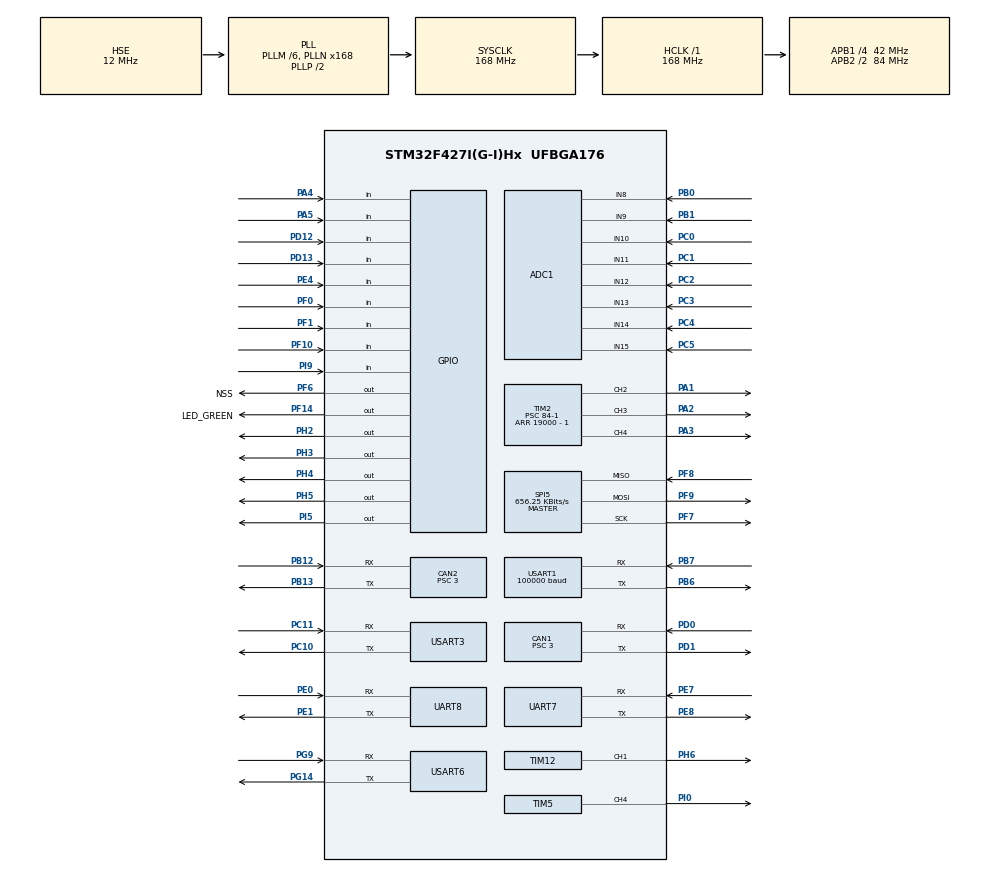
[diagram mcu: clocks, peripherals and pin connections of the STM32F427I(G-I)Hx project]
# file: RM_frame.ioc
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ADC1.Channel-0\#ChannelRegularConversion=ADC_CHANNEL_8
ADC1.Channel-1\#ChannelRegularConversion=ADC_CHANNEL_9
ADC1.Channel-2\#ChannelRegularConversion=ADC_CHANNEL_10
ADC1.Channel-3\#ChannelRegularConversion=ADC_CHANNEL_11
ADC1.Channel-4\#ChannelRegularConversion=ADC_CHANNEL_12
ADC1.Channel-5\#ChannelRegularConversion=ADC_CHANNEL_13
ADC1.Channel-6\#ChannelRegularConversion=ADC_CHANNEL_14
ADC1.Channel-7\#ChannelRegularConversion=ADC_CHANNEL_15
ADC1.ContinuousConvMode=ENABLE
ADC1.DMAContinuousRequests=ENABLE
ADC1.NbrOfConversion=8
ADC1.NbrOfConversionFlag=1
ADC1.Rank-0\#ChannelRegularConversion=1
ADC1.Rank-1\#ChannelRegularConversion=2
ADC1.Rank-2\#ChannelRegularConversion=3
ADC1.Rank-3\#ChannelRegularConversion=4
ADC1.Rank-4\#ChannelRegularConversion=5
ADC1.Rank-5\#ChannelRegularConversion=6
ADC1.Rank-6\#ChannelRegularConversion=7
ADC1.Rank-7\#ChannelRegularConversion=8
ADC1.SamplingTime-0\#ChannelRegularConversion=ADC_SAMPLETIME_3CYCLES
ADC1.SamplingTime-1\#ChannelRegularConversion=ADC_SAMPLETIME_3CYCLES
ADC1.SamplingTime-2\#ChannelRegularConversion=ADC_SAMPLETIME_3CYCLES
ADC1.SamplingTime-3\#ChannelRegularConversion=ADC_SAMPLETIME_3CYCLES
ADC1.SamplingTime-4\#ChannelRegularConversion=ADC_SAMPLETIME_3CYCLES
ADC1.SamplingTime-5\#ChannelRegularConversion=ADC_SAMPLETIME_3CYCLES
ADC1.SamplingTime-6\#ChannelRegularConversion=ADC_SAMPLETIME_3CYCLES
ADC1.SamplingTime-7\#ChannelRegularConversion=ADC_SAMPLETIME_3CYCLES
ADC1.ScanConvMode=ENABLE
ADC1.master=1
CAN1.BS1=CAN_BS1_9TQ
CAN1.BS2=CAN_BS2_4TQ
CAN1.CalculateTimeBit=1000
CAN1.CalculateTimeQuantum=71.42857142857143
CAN1.Prescaler=3
CAN2.BS1=CAN_BS1_9TQ
CAN2.BS2=CAN_BS2_4TQ
CAN2.CalculateTimeBit=1000
CAN2.CalculateTimeQuantum=71.42857142857143
CAN2.Prescaler=3
Dma.ADC1.5.Direction=DMA_PERIPH_TO_MEMORY
Dma.ADC1.5.FIFOMode=DMA_FIFOMODE_DISABLE
Dma.ADC1.5.Instance=DMA2_Stream0
Dma.ADC1.5.MemDataAlignment=DMA_MDATAALIGN_WORD
Dma.ADC1.5.MemInc=DMA_MINC_ENABLE
Dma.ADC1.5.Mode=DMA_CIRCULAR
Dma.ADC1.5.PeriphDataAlignment=DMA_PDATAALIGN_WORD
Dma.ADC1.5.PeriphInc=DMA_PINC_DISABLE
Dma.ADC1.5.Priority=DMA_PRIORITY_LOW
Dma.Request0=USART6_RX
Dma.Request1=USART1_RX
Dma.Request2=USART3_RX
Dma.Request3=USART6_TX
Dma.Request4=UART7_RX
Dma.Request5=ADC1
Dma.Request6=UART8_RX
Dma.Request7=UART8_TX
Dma.UART7_RX.4.Direction=DMA_PERIPH_TO_MEMORY
Dma.UART7_RX.4.FIFOMode=DMA_FIFOMODE_DISABLE
Dma.UART7_RX.4.Instance=DMA1_Stream3
Dma.UART7_RX.4.MemDataAlignment=DMA_MDATAALIGN_BYTE
Dma.UART7_RX.4.MemInc=DMA_MINC_ENABLE
Dma.UART7_RX.4.Mode=DMA_NORMAL
Dma.UART7_RX.4.PeriphDataAlignment=DMA_PDATAALIGN_BYTE
Dma.UART7_RX.4.PeriphInc=DMA_PINC_DISABLE
Dma.UART7_RX.4.Priority=DMA_PRIORITY_LOW
Dma.UART8_RX.6.Direction=DMA_PERIPH_TO_MEMORY
Dma.UART8_RX.6.FIFOMode=DMA_FIFOMODE_DISABLE
Dma.UART8_RX.6.Instance=DMA1_Stream6
Dma.UART8_RX.6.MemDataAlignment=DMA_MDATAALIGN_BYTE
Dma.UART8_RX.6.MemInc=DMA_MINC_ENABLE
Dma.UART8_RX.6.Mode=DMA_NORMAL
Dma.UART8_RX.6.PeriphDataAlignment=DMA_PDATAALIGN_BYTE
Dma.UART8_RX.6.PeriphInc=DMA_PINC_DISABLE
Dma.UART8_RX.6.Priority=DMA_PRIORITY_LOW
Dma.UART8_TX.7.Direction=DMA_MEMORY_TO_PERIPH
Dma.UART8_TX.7.FIFOMode=DMA_FIFOMODE_DISABLE
Dma.UART8_TX.7.Instance=DMA1_Stream0
Dma.UART8_TX.7.MemDataAlignment=DMA_MDATAALIGN_BYTE
Dma.UART8_TX.7.MemInc=DMA_MINC_ENABLE
Dma.UART8_TX.7.Mode=DMA_NORMAL
Dma.UART8_TX.7.PeriphDataAlignment=DMA_PDATAALIGN_BYTE
Dma.UART8_TX.7.PeriphInc=DMA_PINC_DISABLE
Dma.UART8_TX.7.Priority=DMA_PRIORITY_LOW
Dma.USART1_RX.1.Direction=DMA_PERIPH_TO_MEMORY
Dma.USART1_RX.1.FIFOMode=DMA_FIFOMODE_DISABLE
Dma.USART1_RX.1.Instance=DMA2_Stream2
Dma.USART1_RX.1.MemDataAlignment=DMA_MDATAALIGN_BYTE
Dma.USART1_RX.1.MemInc=DMA_MINC_ENABLE
Dma.USART1_RX.1.Mode=DMA_NORMAL
Dma.USART1_RX.1.PeriphDataAlignment=DMA_PDATAALIGN_BYTE
Dma.USART1_RX.1.PeriphInc=DMA_PINC_DISABLE
Dma.USART1_RX.1.Priority=DMA_PRIORITY_LOW
Dma.USART3_RX.2.Direction=DMA_PERIPH_TO_MEMORY
Dma.USART3_RX.2.FIFOMode=DMA_FIFOMODE_DISABLE
Dma.USART3_RX.2.Instance=DMA1_Stream1
Dma.USART3_RX.2.MemDataAlignment=DMA_MDATAALIGN_BYTE
Dma.USART3_RX.2.MemInc=DMA_MINC_ENABLE
Dma.USART3_RX.2.Mode=DMA_NORMAL
Dma.USART3_RX.2.PeriphDataAlignment=DMA_PDATAALIGN_BYTE
Dma.USART3_RX.2.PeriphInc=DMA_PINC_DISABLE
Dma.USART3_RX.2.Priority=DMA_PRIORITY_LOW
Dma.USART6_RX.0.Direction=DMA_PERIPH_TO_MEMORY
Dma.USART6_RX.0.FIFOMode=DMA_FIFOMODE_DISABLE
Dma.USART6_RX.0.Instance=DMA2_Stream1
Dma.USART6_RX.0.MemDataAlignment=DMA_MDATAALIGN_BYTE
Dma.USART6_RX.0.MemInc=DMA_MINC_ENABLE
Dma.USART6_RX.0.Mode=DMA_NORMAL
Dma.USART6_RX.0.PeriphDataAlignment=DMA_PDATAALIGN_BYTE
Dma.USART6_RX.0.PeriphInc=DMA_PINC_DISABLE
Dma.USART6_RX.0.Priority=DMA_PRIORITY_LOW
Dma.USART6_TX.3.Direction=DMA_MEMORY_TO_PERIPH
Dma.USART6_TX.3.FIFOMode=DMA_FIFOMODE_DISABLE
Dma.USART6_TX.3.Instance=DMA2_Stream6
Dma.USART6_TX.3.MemDataAlignment=DMA_MDATAALIGN_BYTE
Dma.USART6_TX.3.MemInc=DMA_MINC_ENABLE
Dma.USART6_TX.3.Mode=DMA_NORMAL
Dma.USART6_TX.3.PeriphDataAlignment=DMA_PDATAALIGN_BYTE
Dma.USART6_TX.3.PeriphInc=DMA_PINC_DISABLE
Dma.USART6_TX.3.Priority=DMA_PRIORITY_LOW
IWDG.Prescaler=IWDG_PRESCALER_32
IWDG.Reload=300
Mcu.Family=STM32F4
Mcu.Name=STM32F427I(G-I)Hx
Mcu.Package=UFBGA176
NVIC.ADC_IRQn=true\:0\:0\:false\:false\:true\:true
NVIC.CAN1_RX0_IRQn=true\:0\:0\:true\:false\:true\:true
NVIC.CAN1_TX_IRQn=true\:0\:0\:true\:false\:true\:true
NVIC.CAN2_RX0_IRQn=true\:1\:0\:true\:false\:true\:true
NVIC.CAN2_TX_IRQn=true\:2\:0\:true\:false\:true\:true
NVIC.DMA1_Stream0_IRQn=true\:0\:0\:false\:false\:true\:false
NVIC.DMA1_Stream1_IRQn=true\:0\:0\:false\:false\:true\:false
NVIC.DMA1_Stream3_IRQn=true\:0\:0\:false\:false\:true\:false
NVIC.DMA1_Stream6_IRQn=true\:0\:0\:false\:false\:true\:false
NVIC.DMA2_Stream0_IRQn=true\:0\:0\:false\:false\:true\:false
NVIC.DMA2_Stream1_IRQn=true\:0\:0\:false\:false\:true\:false
NVIC.DMA2_Stream2_IRQn=true\:0\:0\:false\:false\:true\:false
NVIC.DMA2_Stream6_IRQn=true\:0\:0\:false\:false\:true\:false
NVIC.PriorityGroup=NVIC_PRIORITYGROUP_4
NVIC.TIM1_UP_TIM10_IRQn=true\:4\:0\:true\:false\:true\:true
NVIC.TIM6_DAC_IRQn=true\:3\:0\:true\:false\:true\:true
NVIC.TIM7_IRQn=true\:0\:0\:true\:false\:true\:true
NVIC.UART7_IRQn=true\:0\:0\:false\:false\:true\:true
NVIC.UART8_IRQn=true\:0\:0\:false\:false\:true\:true
NVIC.USART1_IRQn=true\:0\:0\:true\:false\:true\:true
NVIC.USART3_IRQn=true\:0\:0\:false\:false\:true\:true
NVIC.USART6_IRQn=true\:1\:0\:true\:false\:true\:true
PA1.Signal=S_TIM2_CH2
PA2.Signal=S_TIM2_CH3
PA3.Signal=S_TIM2_CH4
PA4.Signal=GPIO_Input
PA5.Signal=GPIO_Input
PB0.Signal=ADCx_IN8
PB1.Signal=ADCx_IN9
PB12.Mode=Slave
PB12.Signal=CAN2_RX
PB13.Mode=Slave
PB13.Signal=CAN2_TX
PB6.Mode=Asynchronous
PB6.Signal=USART1_TX
PB7.Mode=Asynchronous
PB7.Signal=USART1_RX
PC0.Signal=ADCx_IN10
PC1.Signal=ADCx_IN11
PC10.Mode=Asynchronous
PC10.Signal=USART3_TX
PC11.Mode=Asynchronous
PC11.Signal=USART3_RX
PC2.Signal=ADCx_IN12
PC3.Signal=ADCx_IN13
PC4.Signal=ADCx_IN14
PC5.Signal=ADCx_IN15
PD0.Mode=Master
PD0.Signal=CAN1_RX
PD1.Mode=Master
PD1.Signal=CAN1_TX
PD12.GPIO_PuPd=GPIO_PULLDOWN
PD12.Signal=GPIO_Input
PD13.GPIO_PuPd=GPIO_PULLDOWN
PD13.Signal=GPIO_Input
PE0.Mode=Asynchronous
PE0.Signal=UART8_RX
PE1.Mode=Asynchronous
PE1.Signal=UART8_TX
PE4.Signal=GPIO_Input
PE7.Mode=Asynchronous
PE7.Signal=UART7_RX
PE8.Mode=Asynchronous
PE8.Signal=UART7_TX
PF0.Signal=GPIO_Input
PF1.Signal=GPIO_Input
PF10.Signal=GPIO_Input
PF14.GPIO_Label=LED_GREEN
PF14.Signal=GPIO_Output
PF6.GPIO_Label=NSS
PF6.Signal=GPIO_Output
PF7.Mode=Full_Duplex_Master
PF7.Signal=SPI5_SCK
PF8.Mode=Full_Duplex_Master
PF8.Signal=SPI5_MISO
PF9.Mode=Full_Duplex_Master
PF9.Signal=SPI5_MOSI
PG14.Mode=Asynchronous
PG14.Signal=USART6_TX
PG9.Mode=Asynchronous
PG9.Signal=USART6_RX
PH0/OSC_IN.Mode=HSE-External-Oscillator
PH0/OSC_IN.Signal=RCC_OSC_IN
PH1/OSC_OUT.Mode=HSE-External-Oscillator
PH1/OSC_OUT.Signal=RCC_OSC_OUT
PH2.PinState=GPIO_PIN_SET
PH2.Signal=GPIO_Output
PH3.PinState=GPIO_PIN_SET
PH3.Signal=GPIO_Output
PH4.PinState=GPIO_PIN_SET
PH4.Signal=GPIO_Output
PH5.PinState=GPIO_PIN_SET
PH5.Signal=GPIO_Output
PH6.Signal=S_TIM12_CH1
PI0.Signal=S_TIM5_CH4
PI5.Signal=GPIO_Output
PI9.Signal=GPIO_Input
ProjectManager.HeapSize=0x200
ProjectManager.StackSize=0x400
ProjectManager.TargetToolchain=MDK-ARM V5
RCC.48MHZClocksFreq_Value=84000000
RCC.AHBFreq_Value=168000000
RCC.APB1CLKDivider=RCC_HCLK_DIV4
RCC.APB1Freq_Value=42000000
RCC.APB1TimFreq_Value=84000000
RCC.APB2CLKDivider=RCC_HCLK_DIV2
RCC.APB2Freq_Value=84000000
RCC.APB2TimFreq_Value=168000000
RCC.CortexFreq_Value=168000000
RCC.HCLKFreq_Value=168000000
RCC.HSE_VALUE=12000000
RCC.HSI_VALUE=16000000
RCC.LSE_VALUE=32768
RCC.PLLM=6
RCC.PLLN=168
RCC.PLLSourceVirtual=RCC_PLLSOURCE_HSE
RCC.SYSCLKFreq_VALUE=168000000
RCC.SYSCLKSource=RCC_SYSCLKSOURCE_PLLCLK
RCC.VCOOutputFreq_Value=336000000
SH.ADCx_IN10.0=ADC1_IN10,IN10
SH.ADCx_IN11.0=ADC1_IN11,IN11
SH.ADCx_IN12.0=ADC1_IN12,IN12
SH.ADCx_IN13.0=ADC1_IN13,IN13
SH.ADCx_IN14.0=ADC1_IN14,IN14
SH.ADCx_IN15.0=ADC1_IN15,IN15
SH.ADCx_IN8.0=ADC1_IN8,IN8
SH.ADCx_IN9.0=ADC1_IN9,IN9
SH.S_TIM12_CH1.0=TIM12_CH1,PWM Generation1 CH1
SH.S_TIM2_CH2.0=TIM2_CH2,PWM Generation2 CH2
SH.S_TIM2_CH3.0=TIM2_CH3,PWM Generation3 CH3
SH.S_TIM2_CH4.0=TIM2_CH4,PWM Generation4 CH4
SH.S_TIM5_CH4.0=TIM5_CH4,PWM Generation4 CH4
SPI5.BaudRatePrescaler=SPI_BAUDRATEPRESCALER_128
SPI5.CalculateBaudRate=656.25 KBits/s
SPI5.Direction=SPI_DIRECTION_2LINES
SPI5.Mode=SPI_MODE_MASTER
SPI5.VirtualType=VM_MASTER
TIM10.Period=10000
TIM10.Prescaler=168-1
TIM12.Channel-PWM\ Generation1\ CH1=TIM_CHANNEL_1
TIM12.Period=2500-1
TIM12.Prescaler=84-1
TIM12.Pulse-PWM\ Generation1\ CH1=1000
TIM2.Channel-PWM\ Generation2\ CH2=TIM_CHANNEL_2
TIM2.Channel-PWM\ Generation3\ CH3=TIM_CHANNEL_3
TIM2.Channel-PWM\ Generation4\ CH4=TIM_CHANNEL_4
TIM2.Period=19000 - 1
TIM2.Prescaler=84-1
TIM5.Channel-PWM\ Generation4\ CH4=TIM_CHANNEL_4
TIM5.Period=1000000
TIM5.Prescaler=84-1
TIM5.Pulse-PWM\ Generation4\ CH4=1000
TIM6.Period=2000
TIM6.Prescaler=84-1
TIM7.Period=1000
TIM7.Prescaler=84-1
UART7.VirtualMode=Asynchronous
UART8.VirtualMode=Asynchronous
USART1.BaudRate=100000
USART1.Mode=MODE_RX
USART1.Parity=PARITY_EVEN
USART1.VirtualMode=VM_ASYNC
USART1.WordLength=WORDLENGTH_9B
USART3.VirtualMode=VM_ASYNC
USART6.VirtualMode=VM_ASYNC
VP_IWDG_VS_IWDG.Mode=IWDG_Activate
VP_TIM10_VS_ClockSourceINT.Mode=Enable_Timer
VP_TIM12_VS_ClockSourceINT.Mode=Internal
VP_TIM2_VS_ClockSourceINT.Mode=Internal
VP_TIM6_VS_ClockSourceINT.Mode=Enable_Timer
VP_TIM7_VS_ClockSourceINT.Mode=Enable_Timer
board=RM_frame

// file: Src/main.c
/**
  ******************************************************************************
  * File Name          : main.c
  * Description        : Main program body
  ******************************************************************************
  ** This notice applies to any and all portions of this file
  * that are not between comment pairs USER CODE BEGIN and
  * USER CODE END. Other portions of this file, whether
  * inserted by the user or by software development tools
  * are owned by their respective copyright owners.
  *
  * COPYRIGHT(c) 2019 STMicroelectronics
  *
  * Redistribution and use in source and binary forms, with or without modification,
  * are permitted provided that the following conditions are met:
  *   1. Redistributions of source code must retain the above copyright notice,
  *      this list of conditions and the following disclaimer.
  *   2. Redistributions in binary form must reproduce the above copyright notice,
  *      this list of conditions and the following disclaimer in the documentation
  *      and/or other materials provided with the distribution.
  *   3. Neither the name of STMicroelectronics nor the names of its contributors
  *      may be used to endorse or promote products derived from this software
  *      without specific prior written permission.
  *
  * THIS SOFTWARE IS PROVIDED BY THE COPYRIGHT HOLDERS AND CONTRIBUTORS "AS IS"
  * AND ANY EXPRESS OR IMPLIED WARRANTIES, INCLUDING, BUT NOT LIMITED TO, THE
  * IMPLIED WARRANTIES OF MERCHANTABILITY AND FITNESS FOR A PARTICULAR PURPOSE ARE
  * DISCLAIMED. IN NO EVENT SHALL THE COPYRIGHT HOLDER OR CONTRIBUTORS BE LIABLE
  * FOR ANY DIRECT, INDIRECT, INCIDENTAL, SPECIAL, EXEMPLARY, OR CONSEQUENTIAL
  * DAMAGES (INCLUDING, BUT NOT LIMITED TO, PROCUREMENT OF SUBSTITUTE GOODS OR
  * SERVICES; LOSS OF USE, DATA, OR PROFITS; OR BUSINESS INTERRUPTION) HOWEVER
  * CAUSED AND ON ANY THEORY OF LIABILITY, WHETHER IN CONTRACT, STRICT LIABILITY,
  * OR TORT (INCLUDING NEGLIGENCE OR OTHERWISE) ARISING IN ANY WAY OUT OF THE USE
  * OF THIS SOFTWARE, EVEN IF ADVISED OF THE POSSIBILITY OF SUCH DAMAGE.
  *
  ******************************************************************************
  */

#include "main.h"
#include "stm32f4xx_hal.h"
#include "adc.h"
#include "can.h"
#include "dma.h"
#include "iwdg.h"
#include "spi.h"
#include "tim.h"
#include "usart.h"
#include "gpio.h"

/* USER CODE BEGIN Includes */
#include "includes.h"
#define leftstate HAL_GPIO_ReadPin(GPIOD,GPIO_PIN_12)
#define rightstate HAL_GPIO_ReadPin(GPIOD,GPIO_PIN_13)
/* USER CODE END Includes */

/* USER CODE BEGIN PV */
uint32_t ADC_value[160];//用于存储红外传感器的返回数据
uint32_t ADC2_value[10];
int32_t setzerol=0;
uint32_t setzeror=0;
uint32_t lefttight=0;
uint32_t righttight=0;
uint8_t cncnt;
uint8_t open=0;
uint8_t store[1];
extern uint8_t startUp;

/* Private variables ---------------------------------------------------------*/

/* USER CODE END PV */

void SystemClock_Config(void);

/* USER CODE BEGIN PFP */
/* Private function prototypes -----------------------------------------------*/

/* USER CODE END PFP */

int main(void)
{

  /* MCU Configuration----------------------------------------------------------*/

  /* Reset of all peripherals, Initializes the Flash interface and the Systick. */
  HAL_Init();

  /* Configure the system clock */
  SystemClock_Config();

  /* USER CODE BEGIN SysInit */
	HAL_NVIC_DisableIRQ(USART2_IRQn);
	HAL_NVIC_DisableIRQ(USART3_IRQn);
	HAL_NVIC_DisableIRQ(USART6_IRQn);
	HAL_NVIC_DisableIRQ(DMA1_Stream1_IRQn);
	HAL_NVIC_DisableIRQ(DMA1_Stream5_IRQn);
	HAL_NVIC_DisableIRQ(DMA2_Stream1_IRQn);

	HAL_NVIC_DisableIRQ(CAN1_RX0_IRQn);
	HAL_NVIC_DisableIRQ(CAN2_RX0_IRQn);
	HAL_NVIC_DisableIRQ(USART1_IRQn);
	HAL_NVIC_DisableIRQ(DMA2_Stream2_IRQn);
	HAL_NVIC_DisableIRQ(TIM7_IRQn);
	HAL_NVIC_DisableIRQ(TIM6_DAC_IRQn);
	#ifdef DEBUG_MODE
		HAL_NVIC_DisableIRQ(TIM1_UP_TIM10_IRQn);
	#endif
  /* USER CODE END SysInit */

  /* Initialize all configured peripherals */
  MX_GPIO_Init();
  MX_DMA_Init();
  MX_CAN1_Init();
  MX_CAN2_Init();
  MX_SPI5_Init();
  MX_USART1_UART_Init();
  MX_TIM6_Init();
  MX_TIM12_Init();
  MX_USART6_UART_Init();
  MX_TIM7_Init();
  MX_TIM10_Init();
  MX_TIM2_Init();
  //MX_IWDG_Init();
  MX_TIM5_Init();
  MX_USART3_UART_Init();
  MX_UART7_Init();
  MX_ADC1_Init();
  MX_UART8_Init();

  /* USER CODE BEGIN 2 */
	//各模块初始化
	InitRemoteControl();
	Motor_ID_Setting();
	for(int i=0;i<8;i++) {InitMotor(can1[i]);InitMotor(can2[i]);}
	InitPWM();
	InitCanReception();
	InitGyroUart();
	InitJudgeUart();

	#ifdef DEBUG_MODE
	ctrlUartInit();
	//时间中断
	HAL_TIM_Base_Start_IT(&htim10);
	#endif
	HAL_TIM_Base_Start_IT(&htim6);
	HAL_TIM_Base_Start_IT(&htim7);
	HAL_TIM_PWM_Start(&htim2, TIM_CHANNEL_3);
	HAL_TIM_PWM_Start(&htim2, TIM_CHANNEL_4);

	//ADC
	//HAL_ADC_Start_DMA(&hadc1,(uint32_t*)&ADC_Value,160);

	//其他中断
	HAL_NVIC_EnableIRQ(CAN1_RX0_IRQn);
	HAL_NVIC_EnableIRQ(CAN2_RX0_IRQn);
	HAL_NVIC_EnableIRQ(USART1_IRQn);
	HAL_NVIC_EnableIRQ(DMA2_Stream2_IRQn);
	HAL_NVIC_EnableIRQ(TIM6_DAC_IRQn);
	HAL_NVIC_EnableIRQ(TIM7_IRQn);
	#ifdef DEBUG_MODE
		HAL_NVIC_EnableIRQ(TIM1_UP_TIM10_IRQn);
	#endif
	__HAL_UART_ENABLE_IT(&UPPER_UART, UART_IT_IDLE);
	//打开四个24V电源

	//HAL_GPIO_WritePin(GPIOH,1<<2,0);//爪子的向前弹�?
	//HAL_GPIO_WritePin(GPIOH,1<<4,1);//弹射装置1是放�? 0是弹�?
	//�?启红外传感器，并把数据存在ADC_value�?
  HAL_ADC_Start_DMA(&hadc1,ADC_value,160);
  //HAL_ADC_Start_DMA(&hadc2,ADC2_value,10);
	HAL_TIM_PWM_Start(&htim2,TIM_CHANNEL_2);
	HAL_TIM_PWM_Start(&htim2,TIM_CHANNEL_3);
	HAL_UART_Receive_IT(&huart8,(uint8_t *)&store,1);

  /* USER CODE END 2 */

  /* Infinite loop */
  /* USER CODE BEGIN WHILE */
  while (1)
  {
		//RefreshADC();

  /* USER CODE END WHILE */

  /* USER CODE BEGIN 3 */
//		if(startUp)
//		{
//			cncnt++;
//			if(get_left==0&&get_right==0)//Initialize
//			{
//				if(setzerol==0)
//				{
//					if(SL.RxMsgC6x0.moment>-2000)
//						SL.TargetAngle-=1;
//					else
//					{
//						SL.RealAngle=0;
//						SL.TargetAngle=60;
//						setzerol=1;
//					}
//				}
//				if(setzeror==0)
//				{
//					if(SR.RxMsgC6x0.moment<2000)
//						SR.TargetAngle+=10;
//					else
//					{
//						SR.RealAngle=0;
//						SR.TargetAngle=0;
//						setzeror=1;
//					}
//				}
//			}
//
//			if(get_left==1&&get_right==0)//Rescue
//			{
//				if (leftstate==1&&lefttight==0)
//				{
//				SL.TargetAngle=0;
//				lefttight=1;
//				}
//				if (rightstate==1&&righttight==0)
//				{
//				SR.TargetAngle=0;
//				righttight=1;
//				}
//			}
//
//			if(get_right==1&&get_left==1&&lefttight==1&&righttight==1)//Open
//			{
//				SL.TargetAngle=240;
//				SR.TargetAngle=-240;
//				lefttight=0;
//				righttight=0;
//			}
//		}

  }
  /* USER CODE END 3 */

}

/** System Clock Configuration
*/
void SystemClock_Config(void)
{

  RCC_OscInitTypeDef RCC_OscInitStruct;
  RCC_ClkInitTypeDef RCC_ClkInitStruct;

    /**Configure the main internal regulator output voltage
    */
  __HAL_RCC_PWR_CLK_ENABLE();

  __HAL_PWR_VOLTAGESCALING_CONFIG(PWR_REGULATOR_VOLTAGE_SCALE1);

    /**Initializes the CPU, AHB and APB busses clocks
    */
  RCC_OscInitStruct.OscillatorType = RCC_OSCILLATORTYPE_LSI|RCC_OSCILLATORTYPE_HSE;
  RCC_OscInitStruct.HSEState = RCC_HSE_ON;
  RCC_OscInitStruct.LSIState = RCC_LSI_ON;
  RCC_OscInitStruct.PLL.PLLState = RCC_PLL_ON;
  RCC_OscInitStruct.PLL.PLLSource = RCC_PLLSOURCE_HSE;
  RCC_OscInitStruct.PLL.PLLM = 6;
  RCC_OscInitStruct.PLL.PLLN = 168;
  RCC_OscInitStruct.PLL.PLLP = RCC_PLLP_DIV2;
  RCC_OscInitStruct.PLL.PLLQ = 4;
  if (HAL_RCC_OscConfig(&RCC_OscInitStruct) != HAL_OK)
  {
    _Error_Handler(__FILE__, __LINE__);
  }

    /**Initializes the CPU, AHB and APB busses clocks
    */
  RCC_ClkInitStruct.ClockType = RCC_CLOCKTYPE_HCLK|RCC_CLOCKTYPE_SYSCLK
                              |RCC_CLOCKTYPE_PCLK1|RCC_CLOCKTYPE_PCLK2;
  RCC_ClkInitStruct.SYSCLKSource = RCC_SYSCLKSOURCE_PLLCLK;
  RCC_ClkInitStruct.AHBCLKDivider = RCC_SYSCLK_DIV1;
  RCC_ClkInitStruct.APB1CLKDivider = RCC_HCLK_DIV4;
  RCC_ClkInitStruct.APB2CLKDivider = RCC_HCLK_DIV2;

  if (HAL_RCC_ClockConfig(&RCC_ClkInitStruct, FLASH_LATENCY_5) != HAL_OK)
  {
    _Error_Handler(__FILE__, __LINE__);
  }

    /**Configure the Systick interrupt time
    */
  HAL_SYSTICK_Config(HAL_RCC_GetHCLKFreq()/1000);

    /**Configure the Systick
    */
  HAL_SYSTICK_CLKSourceConfig(SYSTICK_CLKSOURCE_HCLK);

  /* SysTick_IRQn interrupt configuration */
  HAL_NVIC_SetPriority(SysTick_IRQn, 0, 0);
}

void _Error_Handler(char * file, int line)
{
  while(1)
  {
  }
}

/************************ (C) COPYRIGHT STMicroelectronics *****END OF FILE****/
